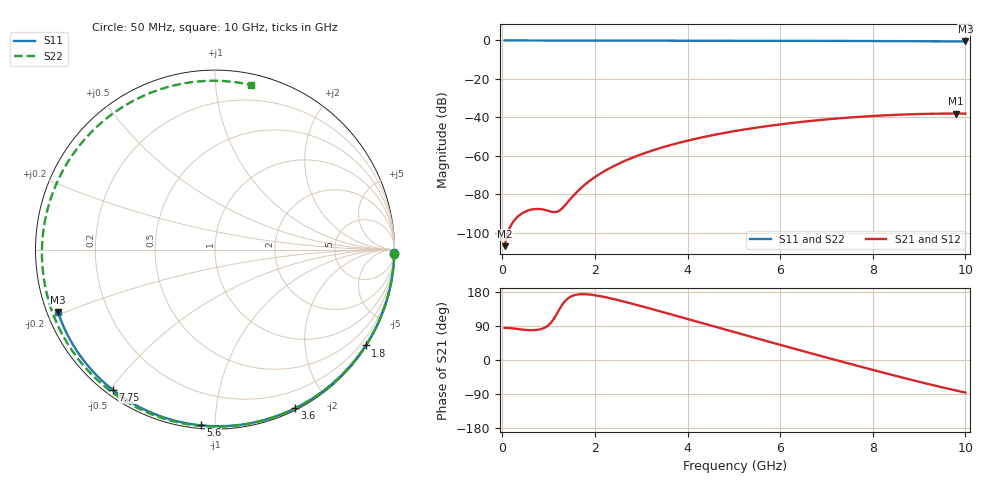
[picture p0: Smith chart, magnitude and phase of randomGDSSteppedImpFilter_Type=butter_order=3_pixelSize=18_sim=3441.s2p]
! freq	dB(S11)	phase(S11)	dB(S12)	phase(S12)
!  dB(S21)	phase(S21)	dB(S22)	phase(S22)
!S-par simulation data
#  GHz  S  DB  R 50
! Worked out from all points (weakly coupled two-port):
!   200 points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, 50 MHz to 10 GHz, reference 50 ohm
!   highest |S21| = -37.99 dB at 9.8 GHz (marker M1); lowest = -106.9 dB at 50 MHz (marker M2)
!   lowest |S11| = -0.5 dB at 10 GHz (marker M3), VSWR 33.31, Z = 1.56 - j9.59 ohm
!   |S11| at or under -10 dB: nowhere
!   |S22| runs from -0.5 to 0.0 dB; largest |S21 - S12| = 0
!   S11 on the Smith chart (normalised r, x): 50 MHz: open; 1.8 GHz: 0.03, -3.44; 3.6 GHz: 0.02, -1.63; 5.6 GHz: 0.02, -0.92; 7.75 GHz: 0.02, -0.51; 10 GHz: 0.03, -0.19
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0.05  -0.01 -0.9  -106.91 84.5  -106.91 84.5  -0.00 -1.5
0.75  -0.02 -13.7  -87.58 79.4  -87.58 79.4  -0.03 -22.6
1.55  -0.04 -28.0  -80.28 170.8  -80.28 170.8  -0.06 -46.2
1.75  -0.04 -31.6  -75.63 173.8  -75.63 173.8  -0.07 -52.0
1.8  -0.04 -32.5  -74.62 173.6  -74.62 173.6  -0.07 -53.4
2.1  -0.05 -37.7  -69.44 168.8  -69.44 168.8  -0.08 -61.9
2.5  -0.06 -44.7  -64.20 158.0  -64.20 158.0  -0.09 -73.1
2.9  -0.07 -51.5  -60.09 145.4  -60.09 145.4  -0.11 -84.0
3.4  -0.08 -59.9  -55.99 128.7  -55.99 128.7  -0.13 -97.3
3.6  -0.08 -63.2  -54.59 121.9  -54.59 121.9  -0.13 -102.6
4.3  -0.11 -74.5  -50.44 97.9  -50.44 97.9  -0.17 -120.6
5.05  -0.13 -86.3  -46.98 72.2  -46.98 72.2  -0.21 -139.6
5.6  -0.16 -94.7  -44.92 53.5  -44.92 53.5  -0.24 -153.5
6.15  -0.18 -102.9  -43.19 34.9  -43.19 34.9  -0.28 -167.5
6.7  -0.22 -111.0  -41.73 16.5  -41.73 16.5  -0.32 178.1
7.25  -0.25 -118.9  -40.52 -1.7  -40.52 -1.7  -0.37 163.2
7.75  -0.29 -126.1  -39.63 -18.0  -39.63 -18.0  -0.41 149.1
8.35  -0.34 -134.6  -38.81 -37.3  -38.81 -37.3  -0.46 131.4
9.1  -0.42 -145.3  -38.18 -60.5  -38.18 -60.5  -0.51 107.8
9.45  -0.46 -150.3  -38.03 -70.7  -38.03 -70.7  -0.52 96.3
9.8  -0.50 -155.4  -37.99 -80.5  -37.99 -80.5  -0.54 84.5
10  -0.52 -158.3  -38.01 -85.9  -38.01 -85.9  -0.55 77.7
